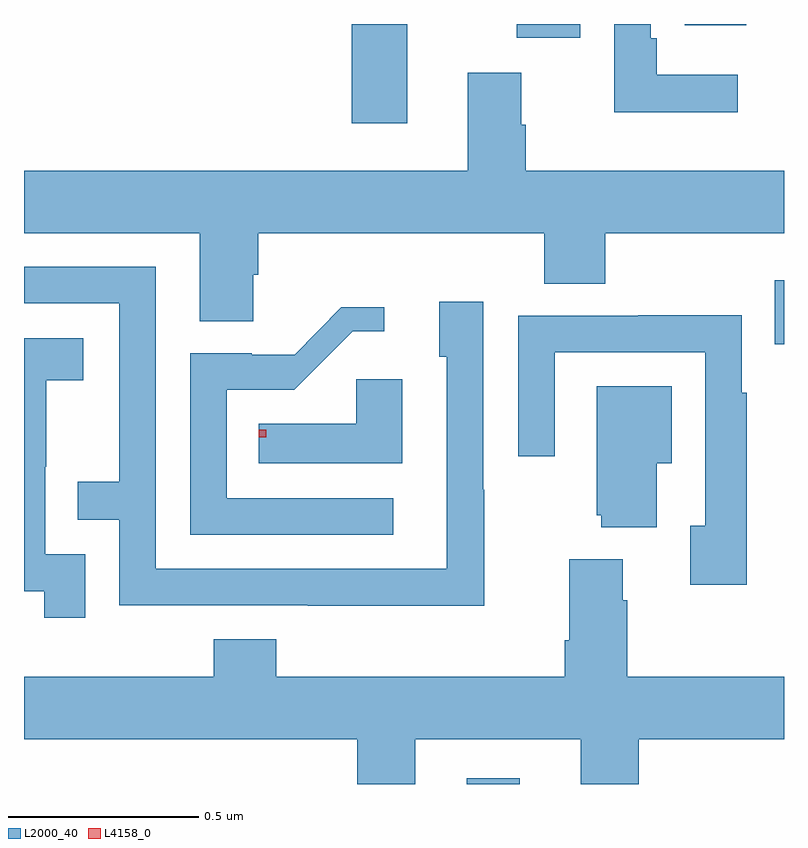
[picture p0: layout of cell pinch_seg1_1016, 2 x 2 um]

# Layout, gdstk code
import gdstk
lib = gdstk.Library(unit=1e-6, precision=1e-09)
def R(c, l, rs):  # rectangles x0, y0, x1, y1
    for r in rs: c.add(gdstk.rectangle(r[:2], r[2:], *l))
def P(c, l, *ps):  # polygons
    for p in ps: c.add(gdstk.Polygon(p, *l))
L2000_40 = (2000, 40)
L4158_0 = (4158, 0)

pinch_seg1_1016 = lib.new_cell('pinch_seg1_1016')
R(pinch_seg1_1016, L2000_40, [(127.913,532.966,128.053,532.981), (128.724,534.123,128.748,534.292), (127.61,534.705,127.756,534.966), (128.045,534.93,128.212,534.966), (128.487,534.963,128.648,534.966)])
P(pinch_seg1_1016, L2000_40, [(128.626,534.832),(128.413,534.832),(128.413,534.928),(128.397,534.928),(128.397,534.966),(128.301,534.966),(128.301,534.734),(128.626,534.734)],
  [(127.351,534.306),(127.364,534.306),(127.364,534.416),(128.117,534.416),(128.117,534.283),(128.277,534.283),(128.277,534.416),(128.748,534.416),(128.748,534.58),(128.069,534.58),(128.069,534.701),(128.056,534.701),(128.056,534.838),(127.916,534.838),(127.916,534.58),(126.748,534.58),(126.748,534.416),(127.211,534.416),(127.211,534.184),(127.351,534.184)],
  [(127.959,533.741),(127.956,533.741),(127.956,534.235),(127.841,534.235),(127.841,534.09),(127.86,534.09),(127.86,533.532),(127.095,533.532),(127.095,534.327),(126.748,534.327),(126.748,534.231),(126.999,534.231),(126.999,533.762),(126.889,533.762),(126.889,533.661),(126.999,533.661),(126.999,533.436),(127.495,533.436),(127.495,533.435),(127.959,533.435)],
  [(127.72,533.718),(127.281,533.718),(127.281,534.003),(127.459,534.003),(127.613,534.157),(127.696,534.157),(127.696,534.22),(127.583,534.22),(127.46,534.096),(127.347,534.096),(127.347,534.099),(127.185,534.099),(127.185,533.622),(127.72,533.622)],
  [(128.65,533.995),(128.637,533.995),(128.637,534.2),(128.365,534.2),(128.365,534.198),(128.049,534.198),(128.049,533.829),(128.145,533.829),(128.145,534.102),(128.541,534.102),(128.541,533.646),(128.501,533.646),(128.501,533.49),(128.65,533.49)],
  [(126.909,533.571),(126.804,533.571),(126.804,533.801),(126.806,533.801),(126.806,534.029),(126.904,534.029),(126.904,534.139),(126.748,534.139),(126.748,533.473),(126.801,533.473),(126.801,533.403),(126.909,533.403)],
  [(127.744,534.031),(127.622,534.031),(127.622,533.914),(127.366,533.914),(127.366,533.81),(127.744,533.81)],
  [(128.413,533.81),(128.452,533.81),(128.452,534.013),(128.255,534.013),(128.255,533.673),(128.267,533.673),(128.267,533.642),(128.413,533.642)],
  [(127.777,533.084),(128.213,533.084),(128.213,532.966),(128.366,532.966),(128.366,533.084),(128.748,533.084),(128.748,533.248),(128.336,533.248),(128.336,533.45),(128.323,533.45),(128.323,533.557),(128.183,533.557),(128.183,533.344),(128.171,533.344),(128.171,533.248),(127.412,533.248),(127.412,533.347),(127.247,533.347),(127.247,533.248),(126.748,533.248),(126.748,533.084),(127.625,533.084),(127.625,532.966),(127.777,532.966)])
R(pinch_seg1_1016, L4158_0, [(127.366,533.878,127.386,533.898)])

lib.write_gds('pinch_seg1_1016.gds')
